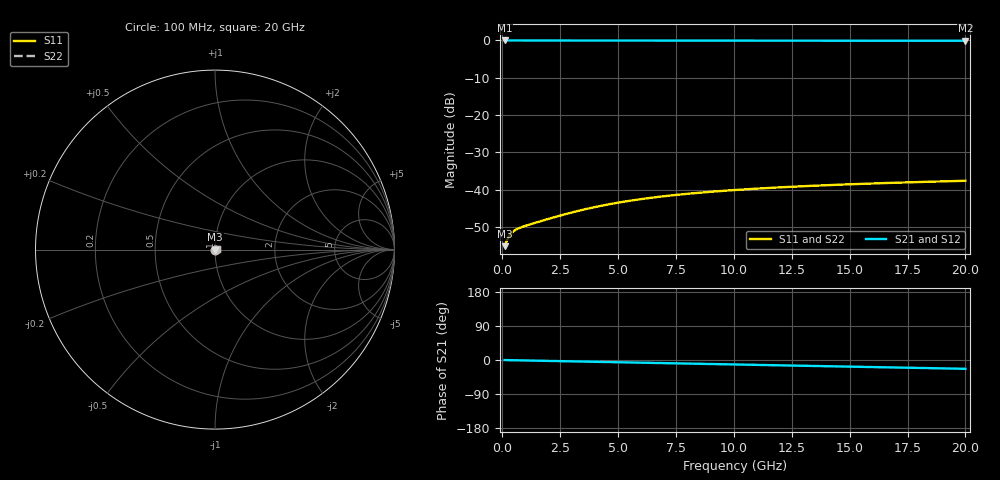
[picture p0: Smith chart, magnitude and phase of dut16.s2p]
! Touchstone file exported from HFSS 2026.1.0
!  File:  C:/ffzhzh/LocalFiles/Ansys_Project_Files/temp_val_TMRDL_16_1782902951_46784.aedt
!  Generated:  06:50:19 PM Jul  1, 2026
!  Design:  TMRDL
!  Project:  temp_val_TMRDL_16_1782902951_46784
! Variables:
!  h_bsmrdl = 2um
!  h_ox = 20um
!  h_rdl = 5um
!  h_sub = 80um
!  h_tmrdl = 3.69um
!  h_tsv = 80um
!  h_via = 3um
!  l_bsmrdl = 300um
!  l_sub = 804.02um
!  l_tmrdl = 404.02um
!  m_sub = 200um
!  pitch = 32.87um
!  r_tsv = 6um
!  s_tmrdl = 10um
!  w_bsmrdl = 18um
!  w_sub = 500um
!  w_tmrdl = 28.14um
!  x_tsv_center1 = 418.09um
!  x_tsv_center2 = 736.09um
!  x_tsv_center3 = 1168.25um
!  x_tsv_center4 = 1486.25um
!  x_tsv_center5 = 1918.41um
!  x_tsv_center6 = 2236.41um
# GHz S MA R 50.000000
! Terminal data exported
! Port[1] = TM_RDL1_1_T1
! Port[2] = TM_RDL1_1_T2
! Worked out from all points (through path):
!   200 points, 100 MHz to 20 GHz, reference 50 ohm
!   highest |S21| = -0.01 dB at 100 MHz (marker M1); lowest = -0.1 dB at 20 GHz (marker M2)
!   group delay of S21, straight-line fit = 3.21 ps
!   lowest |S11| = -55.1 dB at 100 MHz (marker M3), VSWR 1.00, Z = 50.2 + j0.0475 ohm
!   |S11| at or under -10 dB: start of sweep to end of sweep
!   |S22| runs from -55.1 to -37.7 dB; largest |S21 - S12| = 2e-15
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0.1  0.001752 15.7  0.9983 -0.1  0.9983 -0.1  0.001752 15.7
! Gamma 0 0 0 0
! Port Impedance 50 0 50 0
0.2  0.002093 22.7  0.9981 -0.3  0.9981 -0.3  0.002093 22.7
0.3  0.002401 24.6  0.9978 -0.4  0.9978 -0.4  0.002401 24.5
0.4  0.002632 24.8  0.9976 -0.5  0.9976 -0.5  0.002631 24.7
0.5  0.002801 24.7  0.9975 -0.6  0.9975 -0.6  0.0028 24.6
0.6  0.00293 24.7  0.9973 -0.8  0.9973 -0.8  0.002928 24.7
0.7  0.003035 24.9  0.9973 -0.9  0.9973 -0.9  0.003032 24.9
0.9  0.003206 25.8  0.9971 -1.1  0.9971 -1.1  0.003203 25.8
1.1  0.003358 27.1  0.997 -1.3  0.997 -1.3  0.003356 27.1
2.1  0.004151 33.6  0.9966 -2.5  0.9966 -2.5  0.00415 33.6
2.8  0.004771 36.2  0.9963 -3.4  0.9963 -3.4  0.00477 36.2
3.5  0.005406 37.3  0.9959 -4.2  0.9959 -4.2  0.005404 37.3
4.2  0.006028 37.4  0.9955 -5.0  0.9955 -5.0  0.006026 37.4
5  0.006705 36.7  0.9951 -6.0  0.9951 -6.0  0.006702 36.7
5.9  0.00741 35.3  0.9945 -7.0  0.9945 -7.0  0.007405 35.3
6.8  0.008052 33.5  0.9939 -8.1  0.9939 -8.1  0.008045 33.6
8.3  0.00899 30.3  0.9931 -9.8  0.9931 -9.8  0.008979 30.3
10.1  0.009931 26.3  0.9921 -11.9  0.9921 -11.9  0.009916 26.4
11.7  0.01064 22.9  0.9914 -13.7  0.9914 -13.7  0.01062 22.9
13.4  0.01128 19.3  0.9906 -15.7  0.9906 -15.7  0.01125 19.4
16.7  0.01232 12.9  0.9894 -19.5  0.9894 -19.5  0.01228 13.0
20  0.01317 6.7  0.9883 -23.2  0.9883 -23.2  0.0131 6.9
